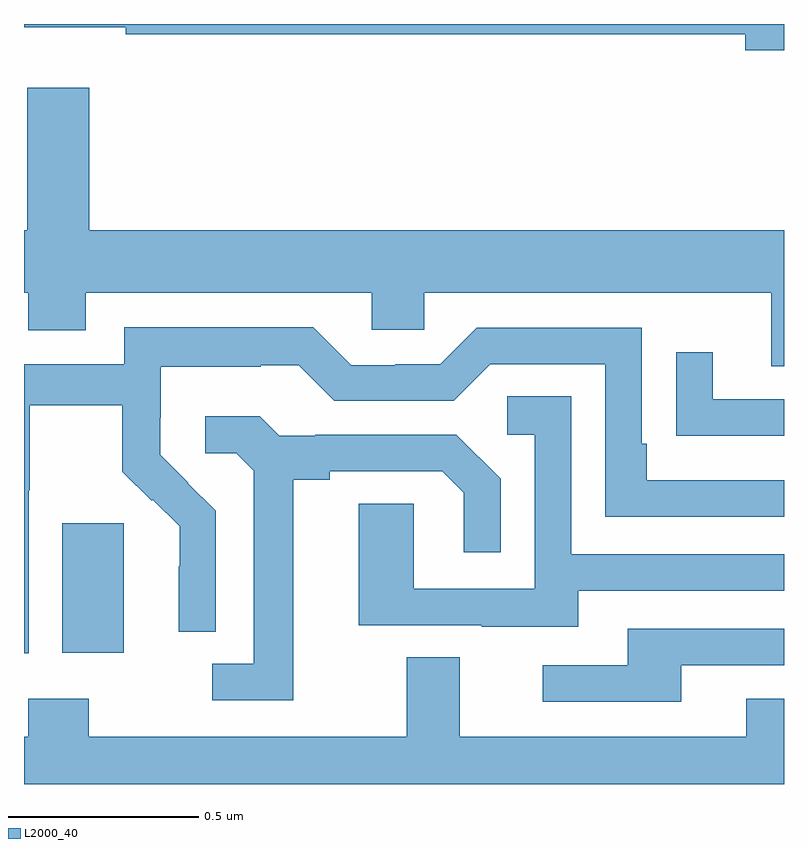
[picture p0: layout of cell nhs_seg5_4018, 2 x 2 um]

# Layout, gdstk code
import gdstk
lib = gdstk.Library(unit=1e-6, precision=1e-09)
def R(c, l, rs):  # rectangles x0, y0, x1, y1
    for r in rs: c.add(gdstk.rectangle(r[:2], r[2:], *l))
def P(c, l, *ps):  # polygons
    for p in ps: c.add(gdstk.Polygon(p, *l))
L2000_40 = (2000, 40)

nhs_seg5_4018 = lib.new_cell('nhs_seg5_4018')
R(nhs_seg5_4018, L2000_40, [(165.101,857.145,165.262,857.485)])
P(nhs_seg5_4018, L2000_40, [(167,858.799),(165,858.799),(165,858.791),(165.268,858.791),(165.268,858.772),(166.898,858.772),(166.898,858.73),(167,858.73)],
  [(167,858.256),(165.172,858.256),(165.172,858.631),(165.008,858.631),(165.008,858.256),(165,858.256),(165,858.092),(165.011,858.092),(165.011,857.993),(165.163,857.993),(165.163,858.092),(165.915,858.092),(165.915,857.994),(166.053,857.994),(166.053,858.092),(166.967,858.092),(166.967,857.898),(167,857.898)],
  [(165.012,857.572),(165.015,857.572),(165.015,857.796),(165.259,857.796),(165.259,857.621),(165.336,857.544),(165.339,857.547),(165.41,857.477),(165.41,857.372),(165.407,857.372),(165.407,857.2),(165.504,857.2),(165.504,857.518),(165.431,857.591),(165.432,857.592),(165.358,857.666),(165.358,857.763),(165.36,857.763),(165.36,857.897),(165.623,857.897),(165.623,857.901),(165.723,857.901),(165.816,857.808),(166.131,857.808),(166.227,857.904),(166.53,857.904),(166.53,857.502),(167,857.502),(167,857.598),(166.639,857.598),(166.639,857.695),(166.626,857.695),(166.626,858),(166.191,858),(166.095,857.904),(165.977,857.904),(165.977,857.901),(165.861,857.901),(165.761,858.001),(165.264,858.001),(165.264,857.904),(165,857.904),(165,857.143),(165.012,857.143)],
  [(167,857.811),(166.813,857.811),(166.813,857.935),(166.717,857.935),(166.717,857.716),(166.819,857.716),(166.819,857.715),(167,857.715)],
  [(166.459,857.307),(167,857.307),(167,857.403),(166.44,857.403),(166.44,857.819),(166.272,857.819),(166.272,857.718),(166.344,857.718),(166.344,857.313),(166.026,857.313),(166.026,857.537),(165.881,857.537),(165.881,857.217),(166.205,857.217),(166.205,857.213),(166.459,857.213)],
  [(165.709,857.6),(165.805,857.6),(165.805,857.622),(166.1,857.622),(166.157,857.565),(166.157,857.409),(166.254,857.409),(166.254,857.602),(166.138,857.718),(165.766,857.718),(165.766,857.715),(165.672,857.715),(165.62,857.767),(165.477,857.767),(165.477,857.67),(165.558,857.67),(165.605,857.623),(165.605,857.115),(165.495,857.115),(165.495,857.019),(165.709,857.019)],
  [(166.729,857.112),(167,857.112),(167,857.208),(166.589,857.208),(166.589,857.112),(166.365,857.112),(166.365,857.016),(166.729,857.016)],
  [(167,857.023),(166.901,857.023),(166.901,856.924),(166.147,856.924),(166.147,857.132),(166.007,857.132),(166.007,856.924),(165.171,856.924),(165.171,857.023),(165.011,857.023),(165.011,856.924),(165,856.924),(165,856.799),(167,856.799)])

lib.write_gds('nhs_seg5_4018.gds')
